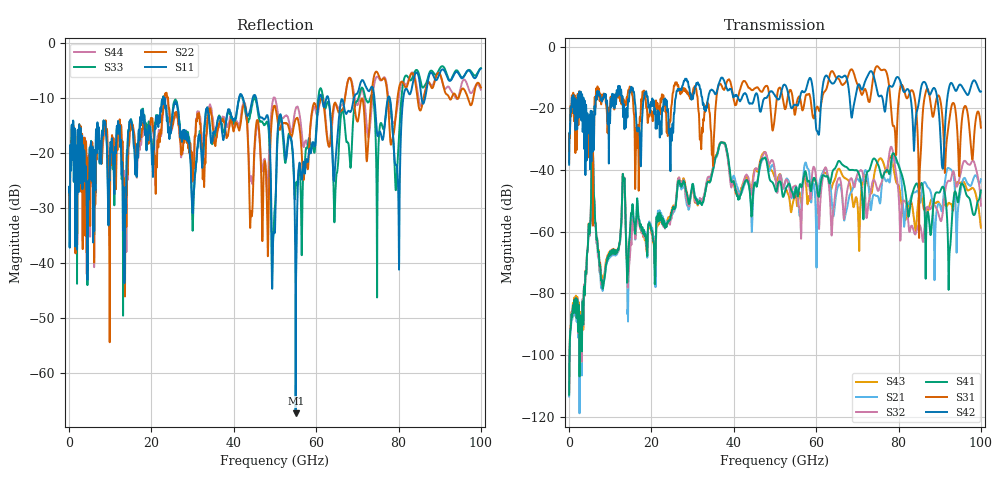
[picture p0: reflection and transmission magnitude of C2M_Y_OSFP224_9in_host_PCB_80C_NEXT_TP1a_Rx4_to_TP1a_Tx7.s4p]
# GHz S RI R 45
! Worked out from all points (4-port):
!   4000 points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, 25 MHz to 100 GHz, reference 45 ohm
!   strongest paths, dB at 25 MHz, 25.02 GHz, 50.02 GHz, 75.03 GHz, 100 GHz:
!     S42: -38.3, -28.8, -16.0, -15.6, -14.6
!     S31: -37.7, -17.6, -22.2, -6.5, -26.3
!     S41: -112.8, -52.9, -46.2, -38.2, -46.6
!     S32: -112.6, -53.8, -40.6, -46.8, -51.6
!     S21: -113.4, -53.9, -41.4, -48.6, -43.0
!     S43: -112.1, -52.3, -42.7, -37.2, -58.7
!   lowest |S11| = -67.4 dB at 55.02 GHz (marker M1), VSWR 1.00, Z = 45 + j0.0191 ohm
!   |S11| at or under -10 dB: start of sweep to 22.85 GHz; 22.96 GHz to 41.26 GHz (18.3 GHz wide, 57 % of centre); 45.44 GHz to 60.72 GHz (15.28 GHz wide, 28.8 % of centre)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
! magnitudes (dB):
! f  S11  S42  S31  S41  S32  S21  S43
! 25 MHz  -27.2  -38.3  -37.7  -112.8  -112.6  -113.4  -112.1
! 5.775 GHz  -22.9  -30.6  -36.9  -33.2  -33.4  -33.4  -33.2
! 8.15 GHz  -16.8  -16.9  -17.2  -78.4  -77.5  -79.2  -76.6
! 13.22 GHz  -26.2  -20.0  -17.0  -43.2  -43.4  -43.5  -43.1
! 37.02 GHz  -15.3  -10.1  -12.6  -31.1  -31.0  -31.1  -30.9
! 55.02 GHz  -67.4  -18.9  -21.0  -45.9  -45.1  -45.6  -47.5
! 100 GHz  -4.7  -14.6  -26.3  -46.6  -51.6  -43.0  -58.7
